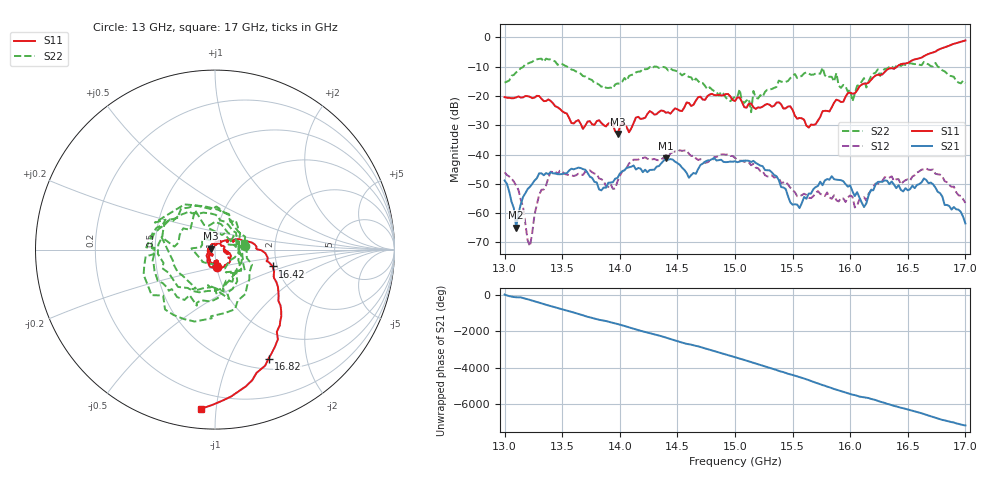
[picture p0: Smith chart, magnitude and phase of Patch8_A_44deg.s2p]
!Keysight Technologies,P9374A,MY57211810,A.19.30.04
!Date: Friday, May 09, 2025 09:22:22
!Correction: S11(Cdelta 2-Port  )
!S21(Cdelta 2-Port  )
!S12(Cdelta 2-Port  )
!S22(Cdelta 2-Port  )
!S2P File: Measurements: S11, S21, S12, S22:
# Hz S  dB  R 50
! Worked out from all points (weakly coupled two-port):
!   201 points, 13 GHz to 17 GHz, reference 50 ohm
!   highest |S21| = -41.23 dB at 14.4 GHz (marker M1); lowest = -64.9 dB at 13.1 GHz (marker M2)
!   lowest |S11| = -33.0 dB at 13.98 GHz (marker M3), VSWR 1.05, Z = 47.9 + j0.56 ohm
!   |S11| at or under -10 dB: start of sweep to 16.41 GHz
!   |S22| runs from -25.5 to -7.2 dB; largest |S21 - S12| = 0.0069
!   S11 on the Smith chart (normalised r, x): 13 GHz: 1.00, -0.19; 16.42 GHz: 1.89, -0.40; 16.82 GHz: 0.63, -1.41; 17 GHz: 0.11, -0.91
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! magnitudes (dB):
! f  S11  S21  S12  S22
! 13 GHz  -20.4  -48.8  -46.1  -15.4
! 13.1 GHz  -20.5  -64.9  -50.6  -11.9
! 13.22 GHz  -20.3  -51.0  -71.3  -8.6
! 13.3 GHz  -20.0  -46.4  -53.8  -7.3
! 13.4 GHz  -21.7  -46.0  -45.9  -7.5
! 13.68 GHz  -31.2  -45.0  -47.0  -13.2
! 13.98 GHz  -33.0  -48.0  -49.2  -15.7
! 14.34 GHz  -25.4  -43.9  -42.0  -10.4
! 14.4 GHz  -25.7  -41.2  -40.2  -10.3
! 14.6 GHz  -22.4  -47.9  -39.7  -13.5
! 15 GHz  -21.7  -42.3  -41.2  -20.1
! 15.14 GHz  -22.6  -42.5  -43.6  -25.5
! 15.16 GHz  -23.8  -42.2  -43.1  -18.3
! 15.56 GHz  -27.5  -58.3  -54.2  -13.5
! 15.68 GHz  -29.8  -51.8  -54.2  -12.7
! 16.02 GHz  -19.2  -52.6  -54.4  -21.9
! 16.12 GHz  -15.7  -57.9  -54.6  -13.9
! 16.34 GHz  -10.5  -50.1  -47.9  -10.0
! 16.42 GHz  -9.5  -50.5  -48.4  -9.4
! 16.64 GHz  -6.4  -48.2  -45.0  -8.3
! 16.82 GHz  -3.4  -57.2  -49.1  -11.6
! 17 GHz  -1.0  -63.5  -56.5  -15.6
